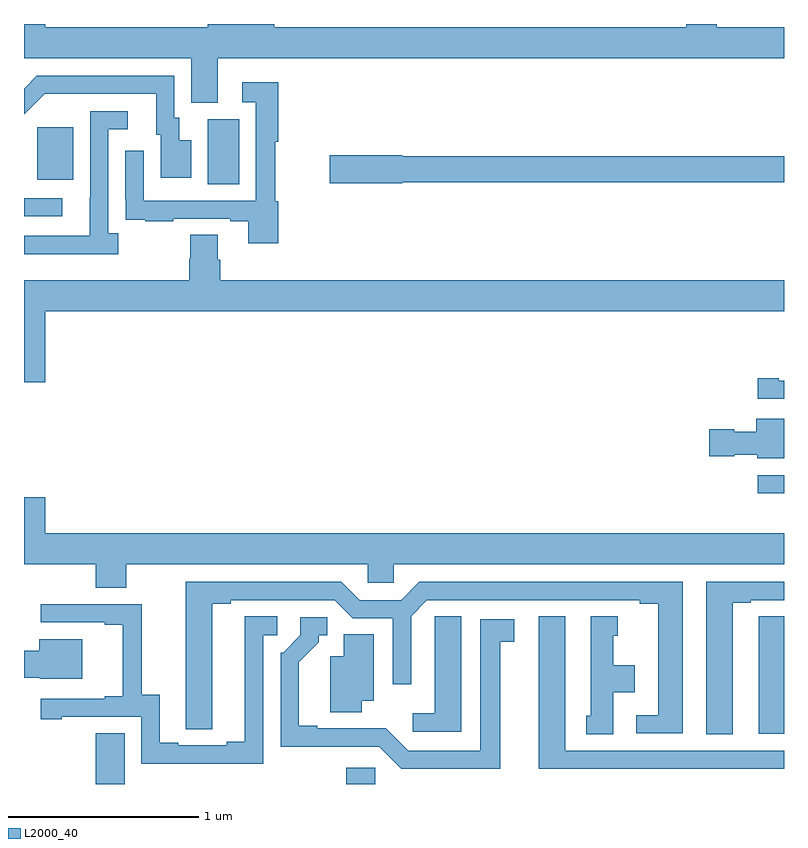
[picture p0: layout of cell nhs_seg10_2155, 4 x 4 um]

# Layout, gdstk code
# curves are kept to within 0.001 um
import gdstk
lib = gdstk.Library(unit=1e-6, precision=1e-09)
def R(c, l, rs):  # rectangles x0, y0, x1, y1
    for r in rs: c.add(gdstk.rectangle(r[:2], r[2:], *l))
def P(c, l, *ps):  # polygons
    for p in ps: c.add(gdstk.Polygon(p, *l))
L2000_40 = (2000, 40)

nhs_seg10_2155 = lib.new_cell('nhs_seg10_2155')
R(nhs_seg10_2155, L2000_40, [(225.377,1292.5,225.529,1292.768), (226.697,1292.5,226.848,1292.586), (228.861,1294.029,229,1294.125), (225,1295.487,225.202,1295.583), (225.968,1295.656,226.132,1296), (225.071,1295.681,225.259,1295.956)])
P(nhs_seg10_2155, L2000_40, [(226.021,1296.32),(229,1296.32),(229,1296.484),(228.645,1296.484),(228.645,1296.5),(228.485,1296.5),(228.485,1296.484),(226.318,1296.484),(226.318,1296.5),(225.968,1296.5),(225.968,1296.484),(225.112,1296.484),(225.112,1296.5),(225,1296.5),(225,1296.32),(225.881,1296.32),(225.881,1296.085),(226.021,1296.085)],
  [(225.88,1295.887),(225.817,1295.887),(225.817,1296.006),(225.792,1296.006),(225.792,1296.228),(225.068,1296.228),(225,1296.16),(225,1296.024),(225.108,1296.132),(225.695,1296.132),(225.695,1295.916),(225.719,1295.916),(225.719,1295.691),(225.88,1295.691)],
  [(226.337,1295.568),(226.322,1295.568),(226.322,1295.88),(226.337,1295.88),(226.337,1296.193),(226.149,1296.193),(226.149,1296.087),(226.221,1296.087),(226.221,1295.571),(225.63,1295.571),(225.63,1295.833),(225.534,1295.833),(225.534,1295.578),(225.535,1295.578),(225.535,1295.469),(225.637,1295.469),(225.637,1295.463),(225.785,1295.463),(225.785,1295.475),(226.085,1295.475),(226.085,1295.463),(226.181,1295.463),(226.181,1295.346),(226.337,1295.346)],
  [(225.496,1295.398),(225.444,1295.398),(225.444,1295.946),(225.547,1295.946),(225.547,1296.042),(225.348,1296.042),(225.348,1295.585),(225.347,1295.585),(225.347,1295.385),(225,1295.385),(225,1295.288),(225.496,1295.288)],
  [(226.992,1295.668),(229,1295.668),(229,1295.804),(226.992,1295.804),(226.992,1295.81),(226.608,1295.81),(226.608,1295.663),(226.992,1295.663)],
  [(225.112,1294.988),(229,1294.988),(229,1295.152),(226.034,1295.152),(226.034,1295.258),(226.021,1295.258),(226.021,1295.39),(225.874,1295.39),(225.874,1295.265),(225.869,1295.265),(225.869,1295.152),(225,1295.152),(225,1294.614),(225.112,1294.614)],
  [(229,1294.623),(228.973,1294.623),(228.973,1294.636),(228.861,1294.636),(228.861,1294.527),(229,1294.527)],
  [(229,1294.423),(228.854,1294.423),(228.854,1294.354),(228.738,1294.354),(228.738,1294.367),(228.606,1294.367),(228.606,1294.225),(228.738,1294.225),(228.738,1294.232),(228.858,1294.232),(228.858,1294.214),(229,1294.214)],
  [(225.537,1293.656),(226.809,1293.656),(226.809,1293.558),(226.947,1293.558),(226.947,1293.656),(229,1293.656),(229,1293.82),(225.112,1293.82),(225.112,1294.009),(225,1294.009),(225,1293.656),(225.377,1293.656),(225.377,1293.532),(225.537,1293.532)],
  [(228.466,1293.564),(227.081,1293.564),(226.985,1293.468),(226.767,1293.468),(226.671,1293.564),(225.851,1293.564),(225.852,1292.788),(225.991,1292.788),(225.991,1293.448),(226.087,1293.448),(226.087,1293.468),(226.635,1293.468),(226.731,1293.372),(226.941,1293.372),(226.941,1293.024),(227.037,1293.024),(227.037,1293.384),(227.121,1293.468),(228.242,1293.468),(228.242,1293.448),(228.338,1293.448),(228.338,1292.862),(228.222,1292.862),(228.222,1292.766),(228.466,1292.766)],
  [(228.73,1293.453),(228.826,1293.453),(228.826,1293.468),(229,1293.468),(229,1293.564),(228.59,1293.564),(228.59,1292.761),(228.73,1292.761)],
  [(226.26,1293.282),(226.333,1293.282),(226.333,1293.383),(226.163,1293.383),(226.163,1292.723),(226.067,1292.723),(226.067,1292.703),(225.811,1292.703),(225.811,1292.718),(225.715,1292.718),(225.715,1292.969),(225.621,1292.969),(225.621,1293.447),(225.087,1293.447),(225.087,1293.351),(225.425,1293.351),(225.425,1293.339),(225.521,1293.339),(225.521,1292.962),(225.425,1292.962),(225.425,1292.949),(225.087,1292.949),(225.087,1292.841),(225.199,1292.841),(225.199,1292.853),(225.618,1292.853),(225.618,1292.607),(226.26,1292.607)],
  [(227.302,1293.383),(227.163,1293.383),(227.163,1293.275),(227.162,1293.275),(227.162,1292.872),(227.046,1292.872),(227.046,1292.775),(227.302,1292.775)],
  [(229,1293.383),(228.867,1293.383),(228.867,1293.275),(228.866,1293.275),(228.866,1292.765),(229,1292.765)],
  [(228.1,1292.984),(228.214,1292.984),(228.214,1293.124),(228.1,1293.124),(228.1,1293.279),(228.124,1293.279),(228.124,1293.382),(227.984,1293.382),(227.984,1292.859),(227.96,1292.859),(227.96,1292.761),(228.1,1292.761)],
  [(229,1292.676),(227.848,1292.676),(227.848,1293.382),(227.708,1293.382),(227.708,1292.58),(229,1292.58)],
  [(227.506,1293.25),(227.581,1293.25),(227.581,1293.366),(227.402,1293.366),(227.402,1292.676),(227.022,1292.676),(226.904,1292.794),(226.543,1292.793),(226.543,1292.806),(226.447,1292.806),(226.447,1293.142),(226.552,1293.247),(226.552,1293.282),(226.597,1293.282),(226.597,1293.378),(226.455,1293.378),(226.455,1293.282),(226.365,1293.192),(226.35,1293.192),(226.35,1292.696),(226.869,1292.697),(226.986,1292.58),(227.506,1292.58)],
  [(226.777,1292.939),(226.84,1292.939),(226.84,1293.287),(226.682,1293.287),(226.682,1293.172),(226.613,1293.172),(226.613,1292.878),(226.777,1292.878)],
  [(225.307,1293.262),(225.08,1293.262),(225.08,1293.201),(225,1293.201),(225,1293.059),(225.084,1293.059),(225.084,1293.053),(225.307,1293.053)])

lib.write_gds('nhs_seg10_2155.gds')
